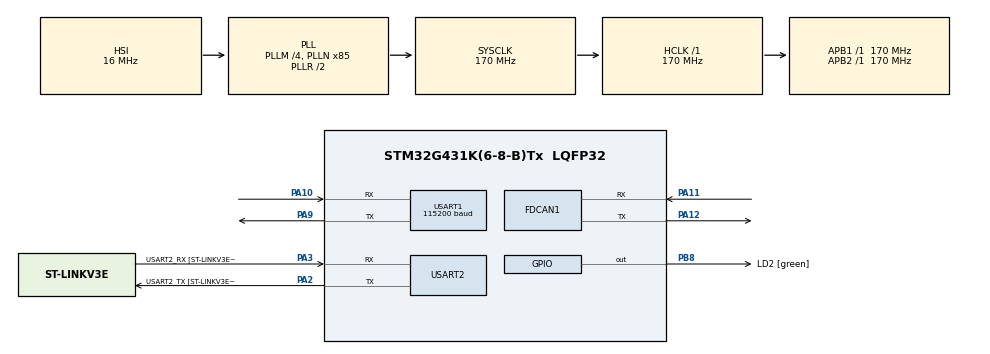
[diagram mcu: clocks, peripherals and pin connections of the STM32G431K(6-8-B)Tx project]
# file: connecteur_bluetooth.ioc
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FDCAN1.CalculateBaudRateNominal=1000000
FDCAN1.CalculateTimeBitNominal=1000
FDCAN1.CalculateTimeQuantumNominal=100.0
FDCAN1.NominalPrescaler=17
FDCAN1.NominalTimeSeg1=7
FDCAN1.NominalTimeSeg2=2
Mcu.Family=STM32G4
Mcu.Name=STM32G431K(6-8-B)Tx
Mcu.Package=LQFP32
NVIC.FDCAN1_IT0_IRQn=true\:0\:0\:false\:false\:true\:true\:true\:true
NVIC.PriorityGroup=NVIC_PRIORITYGROUP_4
NVIC.USART1_IRQn=true\:0\:0\:false\:false\:true\:true\:true\:true
NVIC.USART2_IRQn=true\:0\:0\:false\:false\:true\:true\:true\:true
PA10.Mode=Asynchronous
PA10.Signal=USART1_RX
PA11.Mode=FDCAN_Activate
PA11.Signal=FDCAN1_RX
PA12.Mode=FDCAN_Activate
PA12.Signal=FDCAN1_TX
PA13.GPIO_Label=T_SWDIO
PA13.Mode=Serial_Wire
PA13.Signal=SYS_JTMS-SWDIO
PA14.GPIO_Label=T_SWCLK
PA14.Mode=Serial_Wire
PA14.Signal=SYS_JTCK-SWCLK
PA2.GPIO_Label=USART2_TX [ST-LINKV3E_VCP_RX]
PA2.Mode=Asynchronous
PA2.Signal=USART2_TX
PA3.GPIO_Label=USART2_RX [ST-LINKV3E_VCP_TX]
PA3.Mode=Asynchronous
PA3.Signal=USART2_RX
PA9.Mode=Asynchronous
PA9.Signal=USART1_TX
PB3.GPIO_Label=T_SWO
PB3.Signal=SYS_JTDO-SWO
PB8-BOOT0.GPIO_Label=LD2 [green]
PB8-BOOT0.Signal=GPIO_Output
ProjectManager.HeapSize=0x200
ProjectManager.StackSize=0x400
ProjectManager.TargetToolchain=STM32CubeIDE
RCC.ADC12Freq_Value=170000000
RCC.AHBFreq_Value=170000000
RCC.APB1Freq_Value=170000000
RCC.APB1TimFreq_Value=170000000
RCC.APB2Freq_Value=170000000
RCC.APB2TimFreq_Value=170000000
RCC.CortexFreq_Value=170000000
RCC.EXTERNAL_CLOCK_VALUE=12288000
RCC.HCLKFreq_Value=170000000
RCC.HSE_VALUE=8000000
RCC.HSI48_VALUE=48000000
RCC.HSI_VALUE=16000000
RCC.LSE_VALUE=32768
RCC.PLLM=RCC_PLLM_DIV4
RCC.PLLN=85
RCC.SYSCLKFreq_VALUE=170000000
RCC.SYSCLKSource=RCC_SYSCLKSOURCE_PLLCLK
RCC.USBFreq_Value=170000000
RCC.VCOOutputFreq_Value=340000000
USART1.BaudRate=115200
USART1.VirtualMode-Asynchronous=VM_ASYNC
USART2.VirtualMode-Asynchronous=VM_ASYNC
USART2.WordLength=WORDLENGTH_8B
VP_SYS_VS_DBSignals.Mode=DisableDeadBatterySignals
board=NUCLEO-G431KB

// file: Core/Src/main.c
/* USER CODE BEGIN Header */
/**
 ******************************************************************************
 * @file           : main.c
 * @brief          : Main program body
 ******************************************************************************
 * @attention
 *
 * Copyright (c) 2025 STMicroelectronics.
 * All rights reserved.
 *
 * This software is licensed under terms that can be found in the LICENSE file
 * in the root directory of this software component.
 * If no LICENSE file comes with this software, it is provided AS-IS.
 *
 ******************************************************************************
 */
/* USER CODE END Header */
#include "main.h"
#include "fdcan.h"
#include "usart.h"
#include "gpio.h"

/* USER CODE BEGIN Includes */
#include "remote_gamepad.h"
#include <string.h>
#include <stdio.h>
/* USER CODE END Includes */

/* USER CODE BEGIN PV */
uint8_t buffer_rx_connecteur_bluetooth[8];
uint8_t buffer_rx_pc[8];

uint16_t marker1 = 0;
T_FDCAN_trame_rx trame_rx;
T_FDCAN_trame_rx buffer_trame_rx[32];

float kp = 0.6;
/* USER CODE END PV */

void SystemClock_Config(void);

/* USER CODE BEGIN 0 */
int __io_putchar(int ch)
{
	HAL_UART_Transmit(&huart2, (uint8_t*) &ch, 1, 0xFFFF);
	return ch;
}
int __io_getchar(void)
{
	int ch;
	HAL_UART_Receive(&huart2, (uint8_t*) &ch, 1, 0xFFFF);
	return ch;
}

/* USER CODE END 0 */

int main(void)
{

  /* MCU Configuration--------------------------------------------------------*/

  /* Reset of all peripherals, Initializes the Flash interface and the Systick. */
  HAL_Init();

  /* Configure the system clock */
  SystemClock_Config();

  /* Initialize all configured peripherals */
  MX_GPIO_Init();
  MX_USART2_UART_Init();
  MX_USART1_UART_Init();
  MX_FDCAN1_Init();
  /* USER CODE BEGIN 2 */
	printf("Carte capteurs\n");
	printf("Compile le %s\n", __DATE__);

	HAL_FDCAN_Start(&hfdcan1);
	HAL_FDCAN_ActivateNotification(&hfdcan1, FDCAN_IT_RX_FIFO0_NEW_MESSAGE, 0);

	HAL_UART_Receive_IT(&huart1, buffer_rx_connecteur_bluetooth, 1);
	HAL_UART_Receive_IT(&huart2, buffer_rx_pc, 1);
  /* USER CODE END 2 */

  /* Infinite loop */
	while (1)
	{

	}
}

void SystemClock_Config(void)
{
  RCC_OscInitTypeDef RCC_OscInitStruct = {0};
  RCC_ClkInitTypeDef RCC_ClkInitStruct = {0};

  /** Configure the main internal regulator output voltage
  */
  HAL_PWREx_ControlVoltageScaling(PWR_REGULATOR_VOLTAGE_SCALE1_BOOST);

  /** Initializes the RCC Oscillators according to the specified parameters
  * in the RCC_OscInitTypeDef structure.
  */
  RCC_OscInitStruct.OscillatorType = RCC_OSCILLATORTYPE_HSI;
  RCC_OscInitStruct.HSIState = RCC_HSI_ON;
  RCC_OscInitStruct.HSICalibrationValue = RCC_HSICALIBRATION_DEFAULT;
  RCC_OscInitStruct.PLL.PLLState = RCC_PLL_ON;
  RCC_OscInitStruct.PLL.PLLSource = RCC_PLLSOURCE_HSI;
  RCC_OscInitStruct.PLL.PLLM = RCC_PLLM_DIV4;
  RCC_OscInitStruct.PLL.PLLN = 85;
  RCC_OscInitStruct.PLL.PLLP = RCC_PLLP_DIV2;
  RCC_OscInitStruct.PLL.PLLQ = RCC_PLLQ_DIV2;
  RCC_OscInitStruct.PLL.PLLR = RCC_PLLR_DIV2;
  if (HAL_RCC_OscConfig(&RCC_OscInitStruct) != HAL_OK)
  {
    Error_Handler();
  }

  /** Initializes the CPU, AHB and APB buses clocks
  */
  RCC_ClkInitStruct.ClockType = RCC_CLOCKTYPE_HCLK|RCC_CLOCKTYPE_SYSCLK
                              |RCC_CLOCKTYPE_PCLK1|RCC_CLOCKTYPE_PCLK2;
  RCC_ClkInitStruct.SYSCLKSource = RCC_SYSCLKSOURCE_PLLCLK;
  RCC_ClkInitStruct.AHBCLKDivider = RCC_SYSCLK_DIV1;
  RCC_ClkInitStruct.APB1CLKDivider = RCC_HCLK_DIV1;
  RCC_ClkInitStruct.APB2CLKDivider = RCC_HCLK_DIV1;

  if (HAL_RCC_ClockConfig(&RCC_ClkInitStruct, FLASH_LATENCY_4) != HAL_OK)
  {
    Error_Handler();
  }
}

/* USER CODE BEGIN 4 */
void HAL_UART_RxCpltCallback(UART_HandleTypeDef *huart)
{
	// Si on reçoie des trucs depuis le pc
	if (huart->Instance == USART2)
	{
		// On les envoi au connecteur
		HAL_UART_Transmit(&huart1, buffer_rx_pc, strlen(buffer_rx_pc), HAL_MAX_DELAY);
		HAL_UART_Receive_IT(&huart2, buffer_rx_pc, 1);
	}

	// Si on reçoie des trucs depuis le connecteur
	if (huart->Instance == USART1)
	{
		handle_receive_character(buffer_rx_connecteur_bluetooth[0]);

		// On les envoi au pc
		printf("BT > %s\n", buffer_rx_connecteur_bluetooth);
		HAL_UART_Receive_IT(&huart1, buffer_rx_connecteur_bluetooth, 1);
	}
}

void HAL_FDCAN_RxFifo0Callback(FDCAN_HandleTypeDef *hfdcan, uint32_t RxFifo0ITs) {
	HAL_FDCAN_GetRxMessage(&hfdcan1, FDCAN_RX_FIFO0,
			&buffer_trame_rx[marker1].header,
			&buffer_trame_rx[marker1].data[0]);

	marker1++;

	if (marker1 == 32) {
		marker1 = 0;
	}
}
/* USER CODE END 4 */

void Error_Handler(void)
{
	__disable_irq();
	while (1)
	{
	}
}
